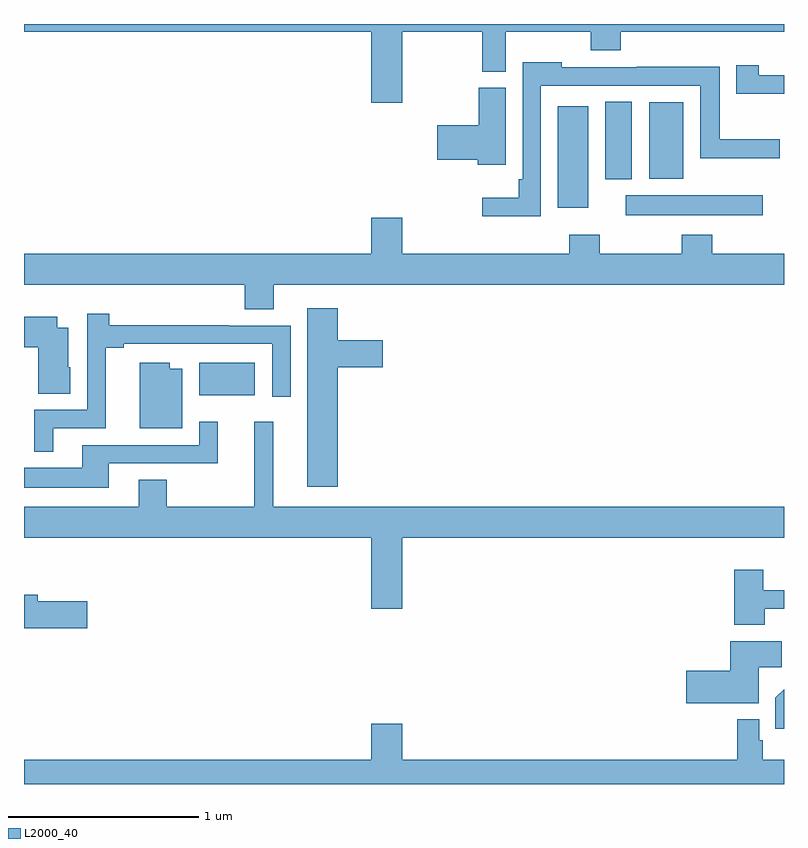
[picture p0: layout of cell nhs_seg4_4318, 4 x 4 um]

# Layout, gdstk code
import gdstk
lib = gdstk.Library(unit=1e-6, precision=1e-09)
def R(c, l, rs):  # rectangles x0, y0, x1, y1
    for r in rs: c.add(gdstk.rectangle(r[:2], r[2:], *l))
def P(c, l, *ps):  # polygons
    for p in ps: c.add(gdstk.Polygon(p, *l))
L2000_40 = (2000, 40)

nhs_seg4_4318 = lib.new_cell('nhs_seg4_4318')
R(nhs_seg4_4318, L2000_40, [(343.922,754.946,344.215,755.116), (346.167,755.894,346.888,755.998), (345.809,755.934,345.97,756.466), (346.058,756.083,346.198,756.491), (346.292,756.086,346.471,756.487)])
P(nhs_seg4_4318, L2000_40, [(344.992,756.86),(345.412,756.86),(345.412,756.649),(345.535,756.649),(345.535,756.86),(345.982,756.86),(345.982,756.761),(346.142,756.761),(346.142,756.86),(347,756.86),(347,756.9),(343,756.9),(343,756.86),(344.828,756.86),(344.828,756.486),(344.992,756.486)],
  [(345.72,756.576),(346.559,756.576),(346.559,756.194),(346.978,756.194),(346.978,756.294),(346.663,756.294),(346.663,756.674),(346.225,756.674),(346.225,756.672),(345.831,756.672),(345.831,756.7),(345.624,756.7),(345.624,756.082),(345.604,756.082),(345.604,755.986),(345.411,755.986),(345.411,755.888),(345.72,755.888)],
  [(347,756.631),(346.866,756.631),(346.866,756.682),(346.748,756.682),(346.748,756.532),(347,756.532)],
  [(345.535,756.564),(345.394,756.564),(345.394,756.368),(345.174,756.368),(345.174,756.185),(345.389,756.185),(345.389,756.158),(345.535,756.158)],
  [(344.314,755.528),(347,755.528),(347,755.692),(346.622,755.692),(346.622,755.791),(346.462,755.791),(346.462,755.692),(346.029,755.692),(346.029,755.791),(345.869,755.791),(345.869,755.692),(344.992,755.692),(344.992,755.881),(344.828,755.881),(344.828,755.692),(343,755.692),(343,755.528),(344.162,755.528),(344.162,755.398),(344.314,755.398)],
  [(344.651,755.093),(344.887,755.093),(344.887,755.235),(344.651,755.235),(344.651,755.404),(344.492,755.404),(344.492,754.464),(344.651,754.464)],
  [(343.153,754.773),(343.43,754.773),(343.43,755.197),(343.525,755.197),(343.525,755.217),(344.307,755.217),(344.307,754.938),(344.403,754.938),(344.403,755.313),(344.078,755.313),(344.078,755.315),(343.448,755.315),(343.448,755.374),(343.332,755.374),(343.332,754.869),(343.055,754.869),(343.055,754.649),(343.153,754.649)],
  [(343.243,755.094),(343.234,755.094),(343.234,755.302),(343.174,755.302),(343.174,755.359),(343,755.359),(343,755.198),(343.076,755.198),(343.076,754.954),(343.243,754.954)],
  [(343.834,755.086),(343.768,755.086),(343.768,755.116),(343.61,755.116),(343.61,754.772),(343.834,754.772)],
  [(344.992,754.196),(347,754.196),(347,754.36),(344.312,754.36),(344.312,754.807),(344.213,754.807),(344.213,754.36),(343.752,754.36),(343.752,754.502),(343.604,754.502),(343.604,754.36),(343,754.36),(343,754.196),(344.828,754.196),(344.828,753.822),(344.992,753.822)],
  [(343.447,754.587),(344.021,754.587),(344.021,754.807),(343.923,754.807),(343.923,754.683),(343.307,754.683),(343.307,754.564),(343,754.564),(343,754.46),(343.447,754.46)],
  [(346.899,753.822),(347,753.822),(347,753.921),(346.891,753.921),(346.891,754.027),(346.739,754.027),(346.739,753.737),(346.899,753.737)],
  [(343.333,753.861),(343.072,753.861),(343.072,753.895),(343,753.895),(343,753.719),(343.333,753.719)],
  [(346.867,753.514),(346.988,753.514),(346.988,753.652),(346.718,753.652),(346.718,753.497),(346.485,753.497),(346.485,753.326),(346.867,753.326)],
  [(347,753.4),(346.954,753.354),(346.954,753.192),(347,753.192)],
  [(347,753.028),(346.889,753.028),(346.889,753.129),(346.869,753.129),(346.869,753.241),(346.753,753.241),(346.753,753.028),(344.992,753.028),(344.992,753.217),(344.828,753.217),(344.828,753.028),(343,753.028),(343,752.9),(347,752.9)])

lib.write_gds('nhs_seg4_4318.gds')
